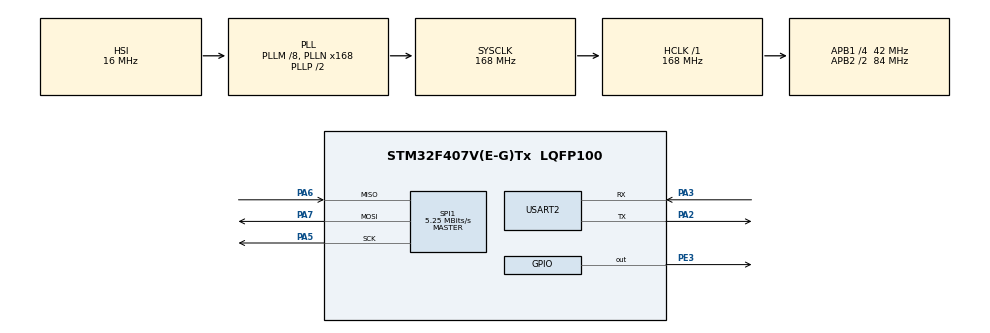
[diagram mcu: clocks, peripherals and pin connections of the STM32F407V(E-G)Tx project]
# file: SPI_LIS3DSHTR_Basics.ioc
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Mcu.Family=STM32F4
Mcu.Name=STM32F407V(E-G)Tx
Mcu.Package=LQFP100
NVIC.PriorityGroup=NVIC_PRIORITYGROUP_4
PA2.Mode=Asynchronous
PA2.Signal=USART2_TX
PA3.Mode=Asynchronous
PA3.Signal=USART2_RX
PA5.Mode=Full_Duplex_Master
PA5.Signal=SPI1_SCK
PA6.Mode=Full_Duplex_Master
PA6.Signal=SPI1_MISO
PA7.Mode=Full_Duplex_Master
PA7.Signal=SPI1_MOSI
PE3.Signal=GPIO_Output
ProjectManager.HeapSize=0x200
ProjectManager.StackSize=0x400
ProjectManager.TargetToolchain=STM32CubeIDE
RCC.48MHZClocksFreq_Value=84000000
RCC.AHBFreq_Value=168000000
RCC.APB1CLKDivider=RCC_HCLK_DIV4
RCC.APB1Freq_Value=42000000
RCC.APB1TimFreq_Value=84000000
RCC.APB2CLKDivider=RCC_HCLK_DIV2
RCC.APB2Freq_Value=84000000
RCC.APB2TimFreq_Value=168000000
RCC.CortexFreq_Value=168000000
RCC.HCLKFreq_Value=168000000
RCC.HSE_VALUE=25000000
RCC.HSI_VALUE=16000000
RCC.LSE_VALUE=32768
RCC.PLLM=8
RCC.PLLN=168
RCC.SYSCLKFreq_VALUE=168000000
RCC.SYSCLKSource=RCC_SYSCLKSOURCE_PLLCLK
RCC.VCOOutputFreq_Value=336000000
SPI1.BaudRatePrescaler=SPI_BAUDRATEPRESCALER_16
SPI1.CLKPhase=SPI_PHASE_2EDGE
SPI1.CLKPolarity=SPI_POLARITY_HIGH
SPI1.CalculateBaudRate=5.25 MBits/s
SPI1.Direction=SPI_DIRECTION_2LINES
SPI1.Mode=SPI_MODE_MASTER
SPI1.VirtualType=VM_MASTER
USART2.VirtualMode=VM_ASYNC
board=custom

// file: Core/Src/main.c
/* USER CODE BEGIN Header */
/**
  ******************************************************************************
  * @file           : main.c
  * @brief          : Main program body
  ******************************************************************************
  * @attention
  *
  * Copyright (c) 2026 STMicroelectronics.
  * All rights reserved.
  *
  * This software is licensed under terms that can be found in the LICENSE file
  * in the root directory of this software component.
  * If no LICENSE file comes with this software, it is provided AS-IS.
  *
  ******************************************************************************
  */
/* USER CODE END Header */
#include "main.h"

/* USER CODE BEGIN Includes */
#include <stdio.h>
/* USER CODE END Includes */

/* USER CODE BEGIN PD */
#define CS_LOW() HAL_GPIO_WritePin(GPIOE, GPIO_PIN_3, GPIO_PIN_RESET)
#define CS_HIGH() HAL_GPIO_WritePin(GPIOE, GPIO_PIN_3, GPIO_PIN_SET)
/* USER CODE END PD */

SPI_HandleTypeDef hspi1;

UART_HandleTypeDef huart2;

void SystemClock_Config(void);
static void MX_GPIO_Init(void);
static void MX_SPI1_Init(void);
static void MX_USART2_UART_Init(void);

int main(void)
{

  /* MCU Configuration--------------------------------------------------------*/

  /* Reset of all peripherals, Initializes the Flash interface and the Systick. */
  HAL_Init();

  /* Configure the system clock */
  SystemClock_Config();

  /* Initialize all configured peripherals */
  MX_GPIO_Init();
  MX_SPI1_Init();
  MX_USART2_UART_Init();
  /* USER CODE BEGIN 2 */
  printf("SPI scan start:");
  //CS_HIGH(); 	//Ideal State
  	HAL_Delay(10);

  	uint8_t tx = 0x8F; //RW=1, address=0x0F
  	uint8_t rx = 0;

  	CS_LOW();
  	HAL_SPI_Transmit(&hspi1, &tx, 1, HAL_MAX_DELAY);
  	HAL_SPI_Receive(&hspi1, &rx, 1, HAL_MAX_DELAY);
  	CS_HIGH();

  	printf("WHO_AM_I: 0x%02X\r\n", rx);
  /* USER CODE END 2 */

  /* Infinite loop */
  while (1)
  {

  }
}

void SystemClock_Config(void)
{
  RCC_OscInitTypeDef RCC_OscInitStruct = {0};
  RCC_ClkInitTypeDef RCC_ClkInitStruct = {0};

  /** Configure the main internal regulator output voltage
  */
  __HAL_RCC_PWR_CLK_ENABLE();
  __HAL_PWR_VOLTAGESCALING_CONFIG(PWR_REGULATOR_VOLTAGE_SCALE1);

  /** Initializes the RCC Oscillators according to the specified parameters
  * in the RCC_OscInitTypeDef structure.
  */
  RCC_OscInitStruct.OscillatorType = RCC_OSCILLATORTYPE_HSI;
  RCC_OscInitStruct.HSIState = RCC_HSI_ON;
  RCC_OscInitStruct.HSICalibrationValue = RCC_HSICALIBRATION_DEFAULT;
  RCC_OscInitStruct.PLL.PLLState = RCC_PLL_ON;
  RCC_OscInitStruct.PLL.PLLSource = RCC_PLLSOURCE_HSI;
  RCC_OscInitStruct.PLL.PLLM = 8;
  RCC_OscInitStruct.PLL.PLLN = 168;
  RCC_OscInitStruct.PLL.PLLP = RCC_PLLP_DIV2;
  RCC_OscInitStruct.PLL.PLLQ = 4;
  if (HAL_RCC_OscConfig(&RCC_OscInitStruct) != HAL_OK)
  {
    Error_Handler();
  }

  /** Initializes the CPU, AHB and APB buses clocks
  */
  RCC_ClkInitStruct.ClockType = RCC_CLOCKTYPE_HCLK|RCC_CLOCKTYPE_SYSCLK
                              |RCC_CLOCKTYPE_PCLK1|RCC_CLOCKTYPE_PCLK2;
  RCC_ClkInitStruct.SYSCLKSource = RCC_SYSCLKSOURCE_PLLCLK;
  RCC_ClkInitStruct.AHBCLKDivider = RCC_SYSCLK_DIV1;
  RCC_ClkInitStruct.APB1CLKDivider = RCC_HCLK_DIV4;
  RCC_ClkInitStruct.APB2CLKDivider = RCC_HCLK_DIV2;

  if (HAL_RCC_ClockConfig(&RCC_ClkInitStruct, FLASH_LATENCY_5) != HAL_OK)
  {
    Error_Handler();
  }
}

static void MX_SPI1_Init(void)
{

  /* SPI1 parameter configuration*/
  hspi1.Instance = SPI1;
  hspi1.Init.Mode = SPI_MODE_MASTER;
  hspi1.Init.Direction = SPI_DIRECTION_2LINES;
  hspi1.Init.DataSize = SPI_DATASIZE_8BIT;
  hspi1.Init.CLKPolarity = SPI_POLARITY_HIGH;
  hspi1.Init.CLKPhase = SPI_PHASE_2EDGE;
  hspi1.Init.NSS = SPI_NSS_SOFT;
  hspi1.Init.BaudRatePrescaler = SPI_BAUDRATEPRESCALER_16;
  hspi1.Init.FirstBit = SPI_FIRSTBIT_MSB;
  hspi1.Init.TIMode = SPI_TIMODE_DISABLE;
  hspi1.Init.CRCCalculation = SPI_CRCCALCULATION_DISABLE;
  hspi1.Init.CRCPolynomial = 10;
  if (HAL_SPI_Init(&hspi1) != HAL_OK)
  {
    Error_Handler();
  }

}

static void MX_USART2_UART_Init(void)
{

  huart2.Instance = USART2;
  huart2.Init.BaudRate = 115200;
  huart2.Init.WordLength = UART_WORDLENGTH_8B;
  huart2.Init.StopBits = UART_STOPBITS_1;
  huart2.Init.Parity = UART_PARITY_NONE;
  huart2.Init.Mode = UART_MODE_TX_RX;
  huart2.Init.HwFlowCtl = UART_HWCONTROL_NONE;
  huart2.Init.OverSampling = UART_OVERSAMPLING_16;
  if (HAL_UART_Init(&huart2) != HAL_OK)
  {
    Error_Handler();
  }

}

static void MX_GPIO_Init(void)
{
  GPIO_InitTypeDef GPIO_InitStruct = {0};

  /* GPIO Ports Clock Enable */
  __HAL_RCC_GPIOE_CLK_ENABLE();
  __HAL_RCC_GPIOA_CLK_ENABLE();

  /*Configure GPIO pin Output Level */
  HAL_GPIO_WritePin(GPIOE, GPIO_PIN_3, GPIO_PIN_RESET);

  /*Configure GPIO pin : PE3 */
  GPIO_InitStruct.Pin = GPIO_PIN_3;
  GPIO_InitStruct.Mode = GPIO_MODE_OUTPUT_PP;
  GPIO_InitStruct.Pull = GPIO_NOPULL;
  GPIO_InitStruct.Speed = GPIO_SPEED_FREQ_LOW;
  HAL_GPIO_Init(GPIOE, &GPIO_InitStruct);

}

/* USER CODE BEGIN 4 */
int _write(int file, char *ptr, int len)
 {
     HAL_UART_Transmit(&huart2, (uint8_t*)ptr, len, HAL_MAX_DELAY);
     return len;
 }

/* USER CODE END 4 */

void Error_Handler(void)
{
  __disable_irq();
  while (1)
  {
  }
}
